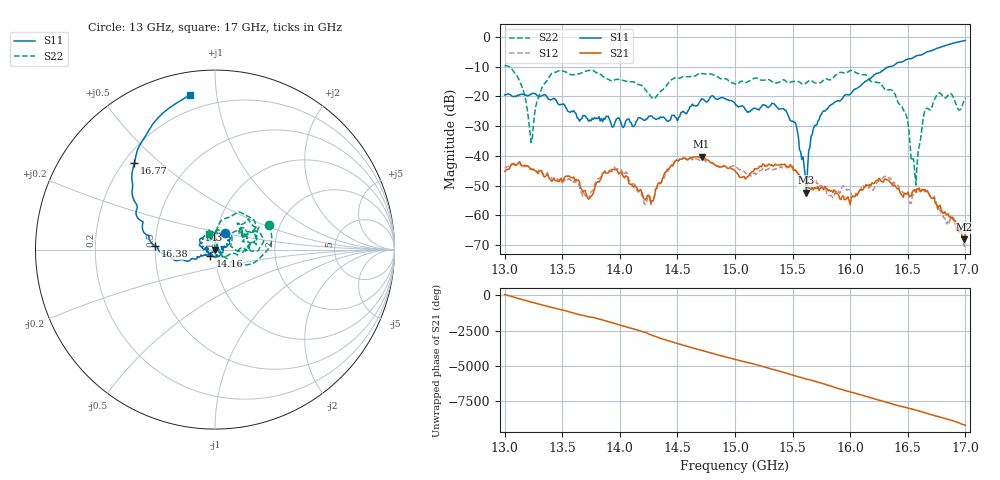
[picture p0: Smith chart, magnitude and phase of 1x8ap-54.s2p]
!Keysight Technologies,P9374A,MY57211807,A.19.30.04
!Date: Friday, May 08, 2026 15:46:35
!Correction: S11(C  2-Port  )
!S21(C  2-Port  )
!S12(C  2-Port  )
!S22(C  2-Port  )
!S2P File: Measurements: S11, S21, S12, S22:
# Hz S  dB  R 50
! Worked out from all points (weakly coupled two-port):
!   401 points, 13 GHz to 17 GHz, reference 50 ohm
!   highest |S21| = -40.26 dB at 14.71 GHz (marker M1); lowest = -68.1 dB at 16.99 GHz (marker M2)
!   lowest |S11| = -52.4 dB at 15.62 GHz (marker M3), VSWR 1.00, Z = 49.8 - j0.111 ohm
!   |S11| at or under -10 dB: start of sweep to 16.34 GHz
!   |S22| runs from -49.8 to -9.6 dB; largest |S21 - S12| = 0.0018
!   S11 on the Smith chart (normalised r, x): 13 GHz: 1.10, +0.20; 14.16 GHz: 0.94, -0.06; 16.38 GHz: 0.50, +0.02; 16.77 GHz: 0.24, +0.41; 17 GHz: 0.12, +0.84
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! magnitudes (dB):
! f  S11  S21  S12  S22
! 13 GHz  -19.5  -45.2  -44.0  -9.6
! 13.14 GHz  -19.4  -42.7  -43.2  -15.8
! 13.23 GHz  -19.2  -44.6  -44.3  -35.6
! 13.4 GHz  -21.2  -48.1  -46.9  -12.7
! 13.67 GHz  -27.5  -51.3  -52.7  -12.1
! 13.96 GHz  -28.6  -44.6  -44.2  -14.4
! 14.16 GHz  -27.2  -51.8  -52.2  -16.0
! 14.34 GHz  -27.6  -49.1  -49.9  -18.8
! 14.71 GHz  -20.8  -40.3  -41.3  -12.3
! 15 GHz  -22.3  -45.0  -43.4  -15.8
! 15.43 GHz  -24.5  -42.8  -43.3  -14.5
! 15.62 GHz  -52.4  -49.9  -49.4  -15.4
! 15.67 GHz  -32.9  -50.6  -49.0  -14.8
! 16.04 GHz  -17.6  -53.8  -54.2  -11.8
! 16.34 GHz  -10.0  -48.5  -47.8  -17.8
! 16.38 GHz  -9.6  -49.8  -48.8  -18.6
! 16.48 GHz  -7.8  -52.7  -52.8  -25.6
! 16.56 GHz  -6.7  -51.4  -51.5  -45.4
! 16.65 GHz  -5.4  -51.3  -51.4  -24.7
! 16.77 GHz  -3.6  -56.9  -57.5  -18.8
! 16.99 GHz  -1.3  -68.1  -70.4  -21.3
! 17 GHz  -1.2  -65.8  -66.1  -20.5
